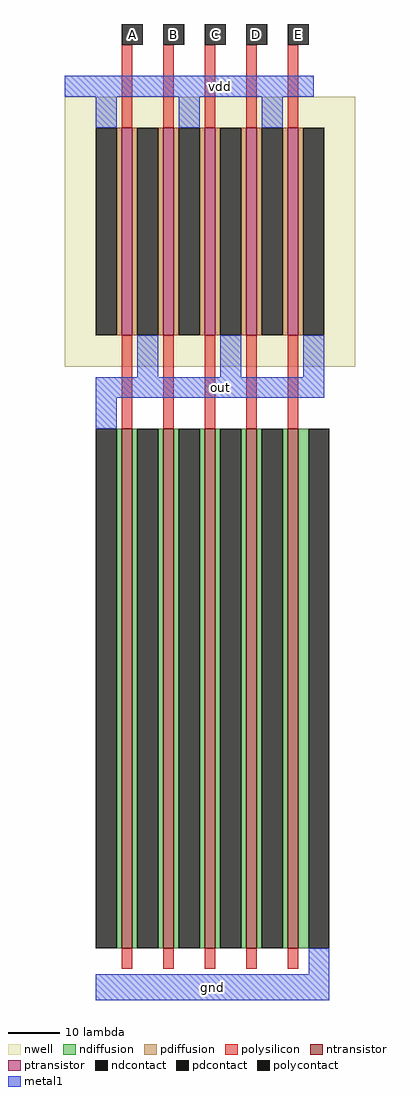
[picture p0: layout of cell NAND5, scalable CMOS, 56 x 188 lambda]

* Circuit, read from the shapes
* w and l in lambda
.subckt NAND5 A B C D E gnd out vdd
M1 n1 A out VSUBS nfet w=100 l=2
M2 n2 B n1 VSUBS nfet w=100 l=2
M3 n3 C n2 VSUBS nfet w=100 l=2
M4 n4 D n3 VSUBS nfet w=100 l=2
M5 gnd E n4 VSUBS nfet w=100 l=2
M6 out A vdd n5 pfet w=40 l=2
M7 vdd B out n5 pfet w=40 l=2
M8 out C vdd n5 pfet w=40 l=2
M9 vdd D out n5 pfet w=40 l=2
M10 out E vdd n5 pfet w=40 l=2
.ends

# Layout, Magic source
magic
tech scmos
<< nwell >>
rect 0 102 56 154
<< ntransistor >>
rect 11 -10 13 90
rect 19 -10 21 90
rect 27 -10 29 90
rect 35 -10 37 90
rect 43 -10 45 90
<< ptransistor >>
rect 11 108 13 148
rect 19 108 21 148
rect 27 108 29 148
rect 35 108 37 148
rect 43 108 45 148
<< ndiffusion >>
rect 10 -10 11 90
rect 13 -10 14 90
rect 18 -10 19 90
rect 21 -10 22 90
rect 26 -10 27 90
rect 29 -10 30 90
rect 34 -10 35 90
rect 37 -10 38 90
rect 42 -10 43 90
rect 45 -10 47 90
<< pdiffusion >>
rect 10 108 11 148
rect 13 108 14 148
rect 18 108 19 148
rect 21 108 22 148
rect 26 108 27 148
rect 29 108 30 148
rect 34 108 35 148
rect 37 108 38 148
rect 42 108 43 148
rect 45 108 46 148
<< ndcontact >>
rect 6 -10 10 90
rect 14 -10 18 90
rect 22 -10 26 90
rect 30 -10 34 90
rect 38 -10 42 90
rect 47 -10 51 90
<< pdcontact >>
rect 6 108 10 148
rect 14 108 18 148
rect 22 108 26 148
rect 30 108 34 148
rect 38 108 42 148
rect 46 108 50 148
<< polysilicon >>
rect 11 148 13 164
rect 19 148 21 164
rect 27 148 29 164
rect 35 148 37 164
rect 43 148 45 164
rect 11 90 13 108
rect 19 90 21 108
rect 27 90 29 108
rect 35 90 37 108
rect 43 90 45 108
rect 11 -14 13 -10
rect 19 -14 21 -10
rect 27 -14 29 -10
rect 35 -14 37 -10
rect 43 -14 45 -10
<< polycontact >>
rect 11 164 15 168
rect 19 164 23 168
rect 27 164 31 168
rect 35 164 39 168
rect 43 164 47 168
<< metal1 >>
rect 0 154 48 158
rect 6 148 10 154
rect 22 148 26 154
rect 38 148 42 154
rect 14 100 18 108
rect 30 100 34 108
rect 46 100 50 108
rect 6 96 50 100
rect 6 90 10 96
rect 47 -15 51 -10
rect 6 -20 51 -15
<< labels >>
rlabel polycontact 19 164 23 168 5 B
rlabel polycontact 11 164 15 168 5 A
rlabel metal1 28 96 32 100 7 out
rlabel metal1 28 154 32 158 7 vdd
rlabel polycontact 27 164 31 168 5 C
rlabel polycontact 35 164 39 168 5 D
rlabel polycontact 43 164 47 168 5 E
rlabel metal1 6 -20 51 -15 1 gnd
<< end >>
